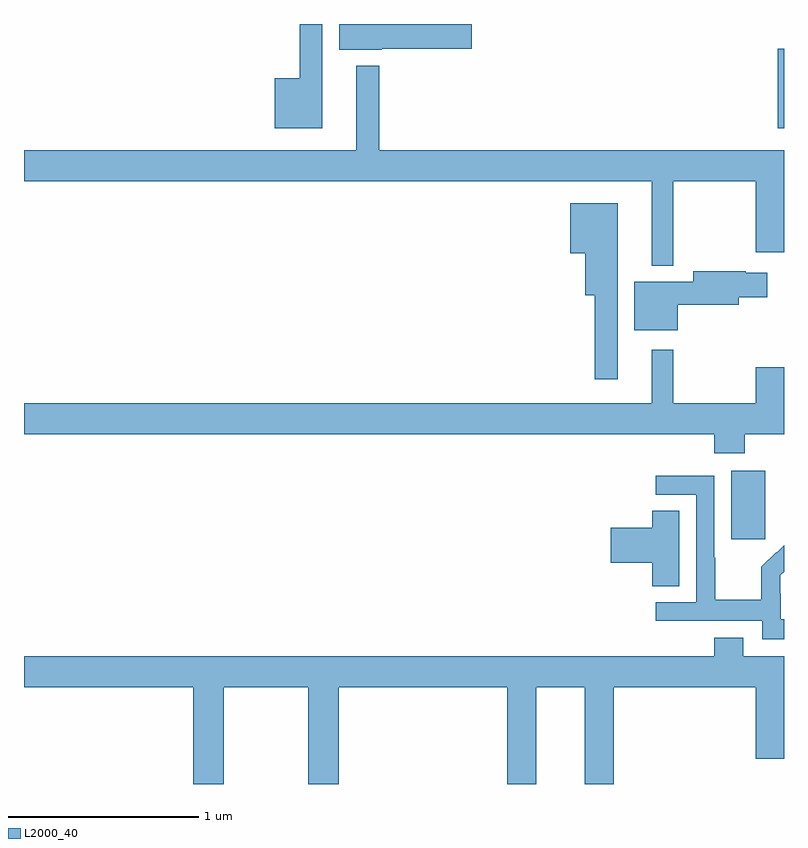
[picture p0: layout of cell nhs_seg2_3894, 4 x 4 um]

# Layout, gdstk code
import gdstk
lib = gdstk.Library(unit=1e-6, precision=1e-09)
def R(c, l, rs):  # rectangles x0, y0, x1, y1
    for r in rs: c.add(gdstk.rectangle(r[:2], r[2:], *l))
def P(c, l, *ps):  # polygons
    for p in ps: c.add(gdstk.Polygon(p, *l))
L2000_40 = (2000, 40)

nhs_seg2_3894 = lib.new_cell('nhs_seg2_3894')
R(nhs_seg2_3894, L2000_40, [(320.723,643.089,320.902,643.45), (320.966,645.251,321,645.67)])
P(nhs_seg2_3894, L2000_40, [(318.882,645.671),(319.357,645.671),(319.357,645.8),(318.659,645.8),(318.659,645.665),(318.882,645.665)],
  [(318.571,645.8),(318.45,645.8),(318.45,645.514),(318.32,645.514),(318.32,645.251),(318.571,645.251)],
  [(320.417,644.972),(320.852,644.972),(320.852,644.598),(321,644.598),(321,645.136),(318.871,645.136),(318.871,645.58),(318.749,645.58),(318.749,645.136),(317,645.136),(317,644.972),(320.303,644.972),(320.303,644.528),(320.417,644.528)],
  [(320.125,644.857),(319.874,644.857),(319.874,644.594),(319.955,644.594),(319.955,644.372),(320.004,644.372),(320.004,643.929),(320.125,643.929)],
  [(320.44,644.322),(320.761,644.322),(320.761,644.362),(320.911,644.362),(320.911,644.491),(320.798,644.491),(320.798,644.499),(320.522,644.499),(320.522,644.443),(320.213,644.443),(320.213,644.189),(320.44,644.189)],
  [(320.793,643.64),(321,643.64),(321,643.993),(320.852,643.993),(320.852,643.804),(320.417,643.804),(320.417,644.086),(320.303,644.086),(320.303,643.804),(317,643.804),(317,643.64),(320.633,643.64),(320.633,643.541),(320.793,643.541)],
  [(321,642.667),(320.982,642.667),(320.982,642.801),(320.98,642.801),(320.98,642.898),(321,642.918),(321,643.056),(320.961,643.017),(320.958,643.02),(320.881,642.943),(320.881,642.769),(320.637,642.769),(320.637,642.992),(320.634,642.992),(320.634,643.422),(320.325,643.422),(320.325,643.323),(320.538,643.323),(320.538,642.756),(320.325,642.756),(320.325,642.66),(320.886,642.66),(320.886,642.563),(321,642.563)],
  [(320.449,643.238),(320.306,643.238),(320.306,643.148),(320.088,643.148),(320.088,642.965),(320.306,642.965),(320.306,642.841),(320.449,642.841)],
  [(318.051,642.308),(318.496,642.308),(318.496,641.8),(318.656,641.8),(318.656,642.308),(319.544,642.308),(319.544,641.8),(319.696,641.8),(319.696,642.308),(319.952,642.308),(319.952,641.8),(320.105,641.8),(320.105,642.308),(320.852,642.308),(320.852,641.934),(321,641.934),(321,642.472),(320.785,642.472),(320.785,642.571),(320.633,642.571),(320.633,642.472),(317,642.472),(317,642.308),(317.891,642.308),(317.891,641.8),(318.051,641.8)])

lib.write_gds('nhs_seg2_3894.gds')
